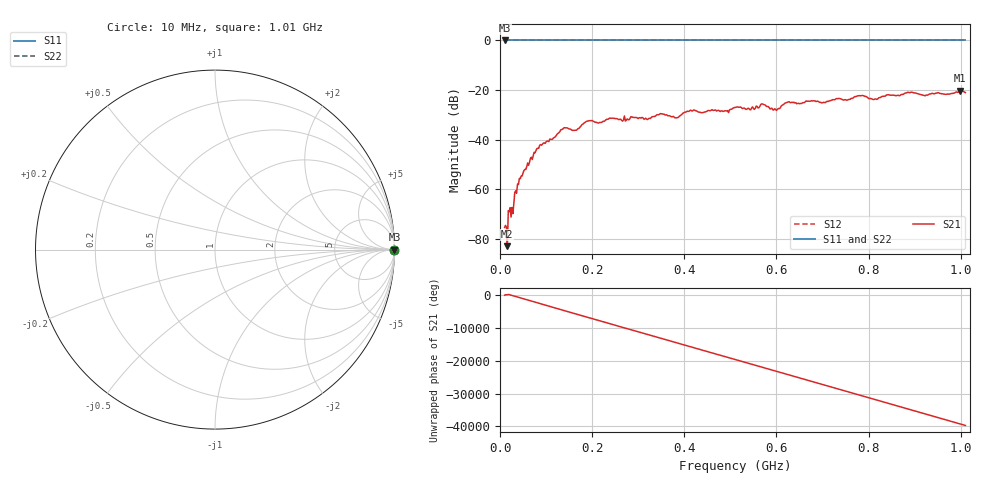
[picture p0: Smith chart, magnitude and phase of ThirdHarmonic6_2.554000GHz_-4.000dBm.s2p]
! 8/17/2025 5:14:18 AM
! C:\ANRITSUVNA\TEMP\TEMP.S2P
! CHANNEL.1
! TR.MEASUREMENT
! RAW.DATA
! RF.CORRECTION.OFF
! AVERAGING.OFF
! IF.BANDWIDTH: 5KHZ
! SWEEPTYPE:  FREQ.SWEEP(Linear)
! Reference Plane Port Info
! PORT:  PORT1  PORT2
! DISTANCE:  0  m  0  m
! TIME:  0  s  0  s
! PHASE.OFFSET:  0  deg.  0  deg.
! LOSS:  0  dB  0  dB
! REF.LOSS:  0  dB  0  dB
! REF.FREQ:  0  Hz  0  Hz
! Power Info
! POWER:  -20  dBm  -20  dBm
! EFF.POWER:  -20  dBm  -20  dBm
! SOURCE.ATTEN:  0  dB  0  dB
! TEST.ATTEN:  0  dB  0  dB
# GHZ S RI R 50.0
! FREQ.GHZ  S11RE  S11IM  S21RE  S21IM  S12RE  S12IM  S22RE  S22IM
!; PortSelection: Port_12
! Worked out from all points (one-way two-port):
!   501 points, 10 MHz to 1.01 GHz, reference 50 ohm
!   highest |S21| = -20.29 dB at 998 MHz (marker M1); lowest = -83.0 dB at 16 MHz (marker M2)
!   lowest |S11| = 0.0 dB at 10 MHz (marker M3)
!   |S11| at or under -10 dB: nowhere
!   |S22| runs from 0.0 to 0.0 dB; largest |S21 - S12| = 1.1
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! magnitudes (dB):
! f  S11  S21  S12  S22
! 10 MHz  0.0  -75.4  0.0  0.0
! 12 MHz  0.0  -74.6  0.0  0.0
! 16 MHz  0.0  -83.0  0.0  0.0
! 22 MHz  0.0  -67.4  0.0  0.0
! 28 MHz  0.0  -69.8  0.0  0.0
! 42 MHz  0.0  -55.6  0.0  0.0
! 78 MHz  0.0  -44.5  0.0  0.0
! 136 MHz  0.0  -35.7  0.0  0.0
! 162 MHz  0.0  -36.2  0.0  0.0
! 178 MHz  0.0  -33.9  0.0  0.0
! 344 MHz  0.0  -30.0  0.0  0.0
! 384 MHz  0.0  -31.1  0.0  0.0
! 410 MHz  0.0  -28.6  0.0  0.0
! 510 MHz  0.0  -27.0  0.0  0.0
! 570 MHz  0.0  -25.6  0.0  0.0
! 598 MHz  0.0  -27.8  0.0  0.0
! 624 MHz  0.0  -24.9  0.0  0.0
! 678 MHz  0.0  -24.4  0.0  0.0
! 814 MHz  0.0  -23.6  0.0  0.0
! 844 MHz  0.0  -21.9  0.0  0.0
! 998 MHz  0.0  -20.3  0.0  0.0
! 1.01 GHz  0.0  -21.0  0.0  0.0
